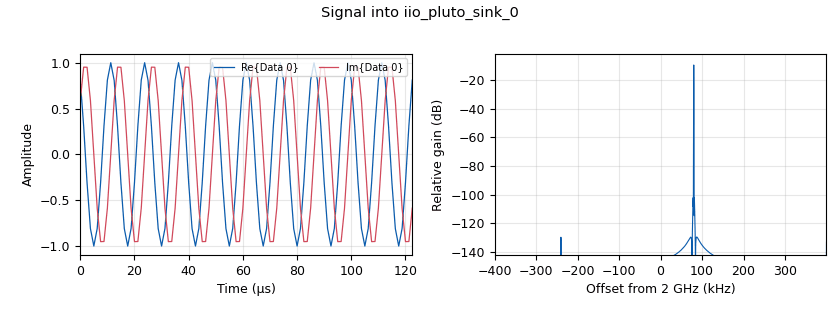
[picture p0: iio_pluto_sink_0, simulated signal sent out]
options:
  parameters:
    generate_options: qt_gui
    id: tone
    output_language: python
    title: tone
  states: {}

blocks:
- name: samp_rate
  id: variable
  parameters:
    value: '800000'
  states: {}
- name: analog_sig_source_x_0
  id: analog_sig_source_x
  parameters:
    amp: '1'
    freq: '80000'
    offset: '0'
    phase: '0'
    samp_rate: samp_rate
    type: complex
    waveform: analog.GR_COS_WAVE
  states: {}
- name: iio_pluto_sink_0
  id: iio_pluto_sink
  parameters:
    attenuation1: '0'
    auto_filter: 'True'
    bandwidth: '200000'
    buffer_size: '32768'
    cyclic: 'False'
    frequency: '2000000000'
    samplerate: '800000'
    uri: ip:192.168.2.1
  states: {}
- name: iio_pluto_source_0
  id: iio_pluto_source
  parameters:
    auto_filter: 'True'
    bandwidth: '200000'
    bbdc: 'True'
    buffer_size: '32768'
    frequency: '2000000000'
    gain1: '''manual'''
    manual_gain1: '0'
    quadrature: 'True'
    rfdc: 'True'
    samplerate: '800000'
    uri: ip:192.168.2.1
  states: {}
- name: qtgui_freq_sink_x_0
  id: qtgui_freq_sink_x
  parameters:
    bw: samp_rate
    fc: '0'
    fftsize: '4096'
    name: '"spectrum"'
    type: complex
    wintype: firdes.WIN_BLACKMAN_hARRIS
  states: {}
- name: qtgui_time_sink_x_0
  id: qtgui_time_sink_x
  parameters:
    name: '"scope"'
    size: '1024'
    srate: samp_rate
    type: complex
  states: {}

connections:
- [analog_sig_source_x_0, '0', iio_pluto_sink_0, '0']
- [iio_pluto_source_0, '0', qtgui_freq_sink_x_0, '0']
- [iio_pluto_source_0, '0', qtgui_time_sink_x_0, '0']

metadata:
  file_format: 1
